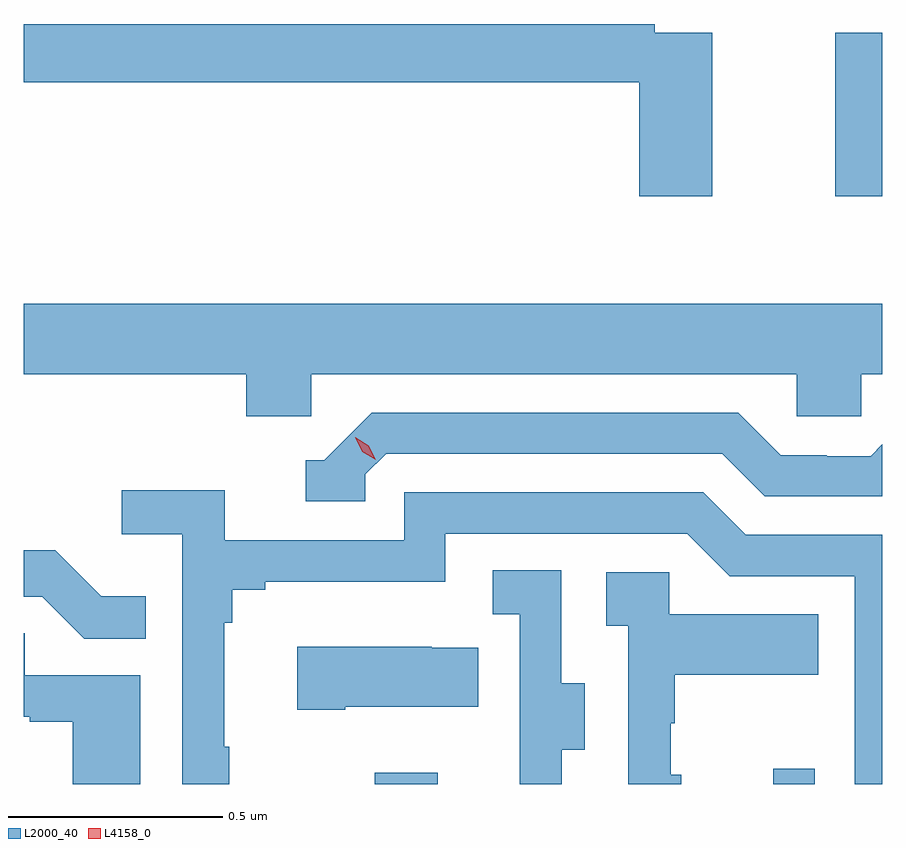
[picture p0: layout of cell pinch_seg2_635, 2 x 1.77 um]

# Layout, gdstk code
import gdstk
lib = gdstk.Library(unit=1e-6, precision=1e-09)
def R(c, l, rs):  # rectangles x0, y0, x1, y1
    for r in rs: c.add(gdstk.rectangle(r[:2], r[2:], *l))
def P(c, l, *ps):  # polygons
    for p in ps: c.add(gdstk.Polygon(p, *l))
L2000_40 = (2000, 40)
L4158_0 = (4158, 0)

pinch_seg2_635 = lib.new_cell('pinch_seg2_635')
R(pinch_seg2_635, L2000_40, [(1042.282,604.058,1042.429,604.084), (1043.21,604.058,1043.307,604.093), (1043.354,605.427,1043.464,605.808)])
P(pinch_seg2_635, L2000_40, [(1043.068,605.808),(1042.934,605.808),(1042.934,605.828),(1041.464,605.828),(1041.464,605.692),(1042.898,605.692),(1042.898,605.427),(1043.068,605.427)],
  [(1042.134,605.012),(1043.265,605.012),(1043.265,604.914),(1043.415,604.914),(1043.415,605.012),(1043.464,605.012),(1043.464,605.176),(1041.464,605.176),(1041.464,605.012),(1041.983,605.012),(1041.983,604.914),(1042.134,604.914)],
  [(1042.26,604.779),(1042.308,604.827),(1043.091,604.827),(1043.19,604.728),(1043.464,604.728),(1043.464,604.849),(1043.437,604.821),(1043.334,604.821),(1043.334,604.824),(1043.227,604.824),(1043.128,604.923),(1042.275,604.923),(1042.164,604.812),(1042.121,604.812),(1042.121,604.716),(1042.26,604.716)],
  [(1041.943,604.145),(1041.931,604.145),(1041.931,604.433),(1041.95,604.433),(1041.95,604.51),(1042.027,604.51),(1042.027,604.529),(1042.446,604.529),(1042.446,604.641),(1043.01,604.641),(1043.109,604.542),(1043.4,604.542),(1043.4,604.058),(1043.464,604.058),(1043.464,604.638),(1043.146,604.638),(1043.047,604.737),(1042.35,604.737),(1042.35,604.626),(1041.932,604.626),(1041.932,604.742),(1041.693,604.742),(1041.693,604.64),(1041.834,604.64),(1041.834,604.058),(1041.943,604.058)],
  [(1041.749,604.495),(1041.645,604.495),(1041.538,604.602),(1041.464,604.602),(1041.464,604.494),(1041.507,604.494),(1041.605,604.396),(1041.749,604.396)],
  [(1042.717,604.138),(1042.771,604.138),(1042.771,604.293),(1042.716,604.293),(1042.716,604.556),(1042.557,604.556),(1042.557,604.453),(1042.62,604.453),(1042.62,604.149),(1042.619,604.149),(1042.619,604.058),(1042.717,604.058)],
  [(1042.996,604.08),(1042.971,604.08),(1042.971,604.199),(1042.981,604.199),(1042.981,604.313),(1043.315,604.313),(1043.315,604.453),(1042.968,604.453),(1042.968,604.551),(1042.821,604.551),(1042.821,604.427),(1042.872,604.427),(1042.872,604.058),(1042.996,604.058)],
  [(1041.736,604.311),(1041.467,604.311),(1041.467,604.409),(1041.464,604.409),(1041.464,604.215),(1041.478,604.215),(1041.478,604.203),(1041.578,604.203),(1041.578,604.058),(1041.736,604.058)],
  [(1042.213,604.238),(1042.523,604.238),(1042.523,604.375),(1042.415,604.375),(1042.415,604.378),(1042.101,604.378),(1042.101,604.231),(1042.213,604.231)])
P(pinch_seg2_635, L4158_0, [(1042.284,604.813),(1042.253,604.832),(1042.236,604.864),(1042.236,604.865),(1042.236,604.865),(1042.268,604.846),(1042.284,604.813),(1042.284,604.813)])

lib.write_gds('pinch_seg2_635.gds')
